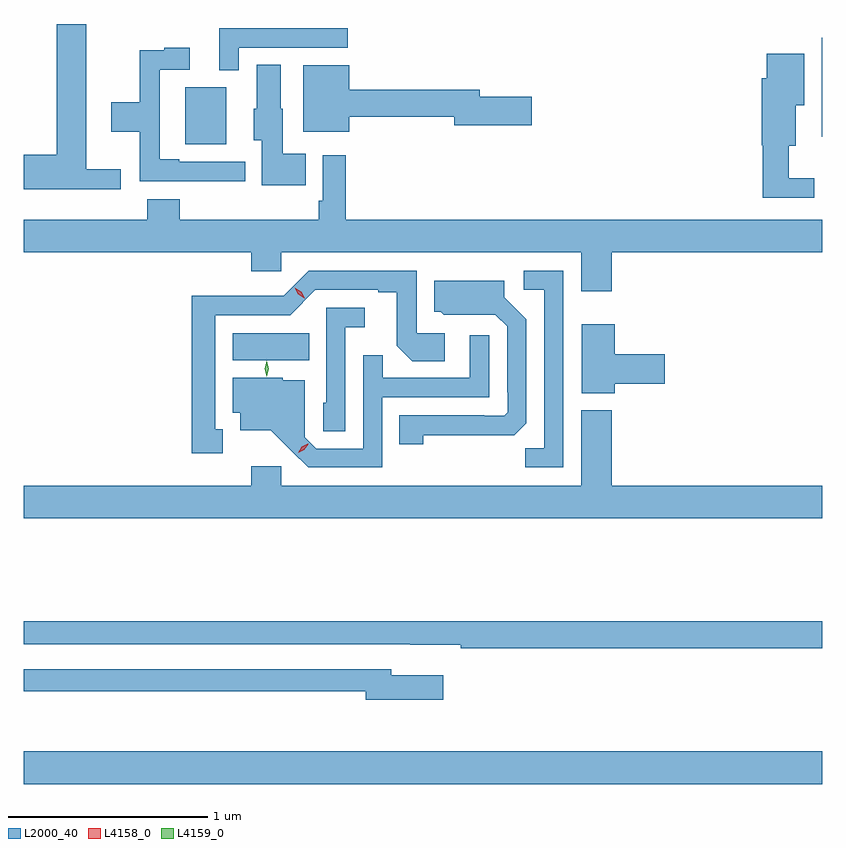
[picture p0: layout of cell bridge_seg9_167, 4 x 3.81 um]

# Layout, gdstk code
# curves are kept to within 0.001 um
import gdstk
lib = gdstk.Library(unit=1e-6, precision=1e-09)
def R(c, l, rs):  # rectangles x0, y0, x1, y1
    for r in rs: c.add(gdstk.rectangle(r[:2], r[2:], *l))
def P(c, l, *ps):  # polygons
    for p in ps: c.add(gdstk.Polygon(p, *l))
L2000_40 = (2000, 40)
L4158_0 = (4158, 0)
L4159_0 = (4159, 0)

bridge_seg9_167 = lib.new_cell('bridge_seg9_167')
R(bridge_seg9_167, L2000_40, [(226.68,1237.712,230.68,1237.876), (227.726,1239.836,228.11,1239.97), (227.489,1240.919,227.695,1241.203)])
P(bridge_seg9_167, L2000_40, [(227.164,1240.793),(226.993,1240.793),(226.993,1241.521),(226.844,1241.521),(226.844,1240.865),(226.68,1240.865),(226.68,1240.694),(227.164,1240.694)],
  [(227.757,1241.403),(228.304,1241.403),(228.304,1241.499),(227.66,1241.499),(227.66,1241.288),(227.757,1241.288)],
  [(230.68,1241.452),(230.679,1241.451),(230.679,1240.956),(230.68,1240.956)],
  [(227.788,1240.83),(227.458,1240.83),(227.458,1240.843),(227.361,1240.843),(227.361,1241.292),(227.512,1241.292),(227.512,1241.401),(227.384,1241.401),(227.384,1241.39),(227.26,1241.39),(227.26,1241.13),(227.118,1241.13),(227.118,1240.982),(227.26,1240.982),(227.26,1240.734),(227.545,1240.734),(227.545,1240.733),(227.788,1240.733)],
  [(230.641,1240.747),(230.512,1240.747),(230.512,1240.91),(230.548,1240.91),(230.548,1241.114),(230.59,1241.114),(230.59,1241.371),(230.402,1241.371),(230.402,1241.25),(230.378,1241.25),(230.378,1240.914),(230.383,1240.914),(230.383,1240.65),(230.641,1240.65)],
  [(228.092,1240.87),(227.977,1240.87),(227.977,1241.097),(227.968,1241.097),(227.968,1241.318),(227.846,1241.318),(227.846,1241.097),(227.831,1241.097),(227.831,1240.938),(227.873,1240.938),(227.873,1240.712),(228.092,1240.712)],
  [(228.31,1241.056),(228.836,1241.056),(228.836,1241.014),(229.225,1241.014),(229.225,1241.156),(228.964,1241.156),(228.964,1241.192),(228.31,1241.192),(228.31,1241.314),(228.08,1241.314),(228.08,1240.982),(228.31,1240.982)],
  [(229.625,1240.376),(230.68,1240.376),(230.68,1240.54),(228.293,1240.54),(228.293,1240.864),(228.177,1240.864),(228.177,1240.636),(228.157,1240.636),(228.157,1240.54),(227.462,1240.54),(227.462,1240.642),(227.297,1240.642),(227.297,1240.54),(226.68,1240.54),(226.68,1240.376),(227.819,1240.376),(227.819,1240.283),(227.97,1240.283),(227.97,1240.376),(229.472,1240.376),(229.472,1240.182),(229.625,1240.182)],
  [(227.677,1239.489),(227.638,1239.489),(227.638,1240.062),(228.015,1240.062),(228.141,1240.188),(228.455,1240.188),(228.455,1240.176),(228.549,1240.176),(228.549,1239.908),(228.625,1239.832),(228.79,1239.832),(228.79,1239.972),(228.648,1239.972),(228.648,1240.284),(228.108,1240.284),(227.982,1240.158),(227.76,1240.158),(227.76,1240.16),(227.52,1240.16),(227.52,1239.369),(227.677,1239.369)],
  [(229.383,1240.284),(229.185,1240.284),(229.185,1240.188),(229.287,1240.188),(229.287,1239.395),(229.192,1239.395),(229.192,1239.3),(229.383,1239.3)],
  [(228.681,1239.46),(229.138,1239.461),(229.197,1239.52),(229.197,1240.042),(229.087,1240.152),(229.087,1240.234),(228.737,1240.234),(228.737,1240.08),(228.768,1240.08),(228.784,1240.064),(229.041,1240.065),(229.101,1240.005),(229.101,1239.676),(229.104,1239.676),(229.104,1239.576),(229.086,1239.558),(228.986,1239.558),(228.986,1239.561),(228.562,1239.561),(228.562,1239.414),(228.681,1239.414)],
  [(228.291,1240.001),(228.388,1240.001),(228.388,1240.098),(228.195,1240.098),(228.195,1239.624),(228.18,1239.624),(228.18,1239.481),(228.291,1239.481)],
  [(229.642,1239.719),(229.891,1239.719),(229.891,1239.866),(229.642,1239.866),(229.642,1240.015),(229.475,1240.015),(229.475,1239.671),(229.642,1239.671)],
  [(228.477,1239.651),(229.011,1239.651),(229.011,1239.961),(228.915,1239.961),(228.915,1239.747),(228.479,1239.747),(228.479,1239.86),(228.381,1239.86),(228.381,1239.393),(228.144,1239.393),(228.087,1239.45),(228.087,1239.736),(227.976,1239.736),(227.976,1239.748),(227.726,1239.748),(227.726,1239.572),(227.765,1239.572),(227.765,1239.485),(227.917,1239.485),(228.104,1239.3),(228.477,1239.3)],
  [(230.68,1239.208),(229.625,1239.208),(229.625,1239.586),(229.472,1239.586),(229.472,1239.208),(227.97,1239.208),(227.97,1239.304),(227.819,1239.304),(227.819,1239.208),(226.68,1239.208),(226.68,1239.044),(230.68,1239.044)],
  [(230.68,1238.528),(226.68,1238.528),(226.68,1238.412),(228.616,1238.412),(228.616,1238.411),(228.868,1238.411),(228.868,1238.392),(230.68,1238.392)],
  [(228.781,1238.257),(228.52,1238.257),(228.52,1238.286),(226.68,1238.286),(226.68,1238.178),(228.392,1238.178),(228.392,1238.135),(228.781,1238.135)])
P(bridge_seg9_167, L4158_0, [(228.055,1239.373),(228.055,1239.373),(228.072,1239.402),(228.103,1239.417),(228.104,1239.417),(228.104,1239.416),(228.086,1239.387),(228.055,1239.373)],
  [(228.086,1240.147),(228.055,1240.166),(228.037,1240.199),(228.037,1240.199),(228.038,1240.199),(228.069,1240.18),(228.087,1240.147),(228.087,1240.147)])
P(bridge_seg9_167, L4159_0, [(227.896,1239.754),(227.887,1239.794),(227.897,1239.833),(227.897,1239.834),(227.897,1239.833),(227.907,1239.794),(227.897,1239.754),(227.897,1239.754)])

lib.write_gds('bridge_seg9_167.gds')
